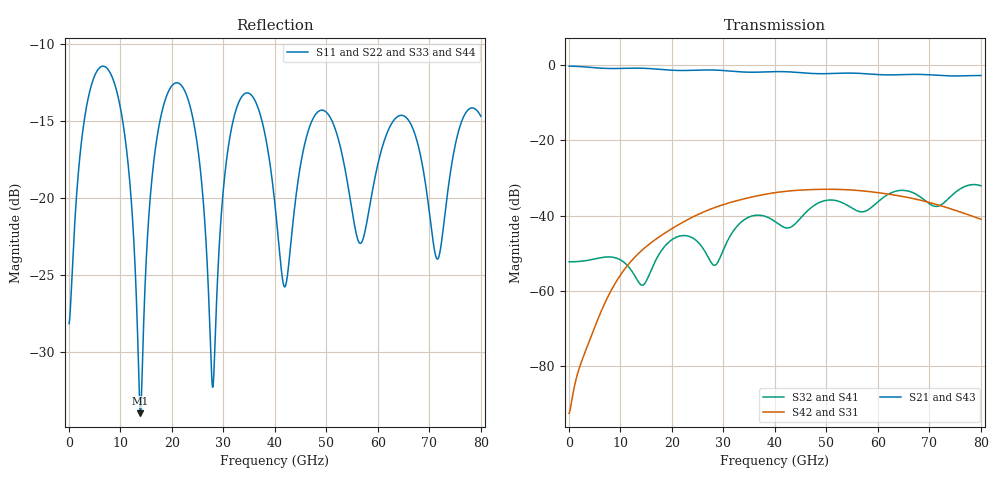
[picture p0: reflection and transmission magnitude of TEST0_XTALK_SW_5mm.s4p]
! TOUCHSTONE file generated by CST MICROWAVE STUDIO
! Date and time: Fri Oct 23 11:41:42 2026
! Project name: TEST0_XTALK_SW_3mm.cst
! Parameters = {L=5; L1=0.01; L2=0.076; PITCH=0.2; START_POSITION=0.1; W1=0.002; W2=0.022; gap=0.00415; interaxis=0.625; ln_thickness=0.000275; mtx=0.002; si_thickness=0.3; sio2_thickness=0.0047; w=1; wg=0.03; ws=0.01}
! Header version: 2024
! Port assignment regex: !\s*Touchstone port\s*([0-9]+)\s*=\s*(CST MWS port|CST DES external port|CST DES block port)\s*(.+)\s* \(\"(.*)\"\)(\s*mode\s*([0-9]+))?.*
! Touchstone port assignment:
! Touchstone port 1 = CST MWS port 1 ("")
! Touchstone port 2 = CST MWS port 2 ("")
! Touchstone port 3 = CST MWS port 3 ("")
! Touchstone port 4 = CST MWS port 4 ("")
# GHz S MA R 50
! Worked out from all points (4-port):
!   1000 points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, 80 MHz to 80 GHz, reference 50 ohm
!   strongest paths, dB at 80 MHz, 20.08 GHz, 40.08 GHz, 60.08 GHz, 80 GHz:
!     S21: -0.3, -1.4, -1.8, -2.6, -2.8
!     S43: -0.3, -1.4, -1.8, -2.6, -2.8
!     S42: -92.4, -43.4, -33.9, -33.9, -40.9
!     S31: -92.4, -43.4, -33.9, -33.9, -40.9
!     S32: -52.2, -46.3, -41.6, -36.2, -32.1
!     S41: -52.2, -46.3, -41.6, -36.2, -32.1
!   lowest |S11| = -34.0 dB at 13.92 GHz (marker M1), VSWR 1.04, Z = 52 - j0.279 ohm
!   |S11| at or under -10 dB: start of sweep to end of sweep
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0.08  0.03914 6.4  0.9636 -1.1  2.378e-05 5.4  0.002446 176.8
      0.9636 -1.1  0.03914 6.4  0.002446 176.8  2.365e-05 5.4
      2.405e-05 5.3  0.002447 176.8  0.03914 6.4  0.9636 -1.1
      0.002447 176.8  2.391e-05 5.3  0.9636 -1.1  0.03914 6.4
13.92  0.02003 -7.7  0.9061 -177.7  0.003339 -26.9  0.001228 1.0
       0.9061 -177.7  0.02002 -7.7  0.001228 1.0  0.003339 -26.9
       0.003338 -26.9  0.001229 1.0  0.02004 -7.7  0.9061 -177.7
       0.001229 1.0  0.003338 -26.9  0.9061 -177.7  0.02002 -7.7
28  0.02444 -0.0  0.8567 5.5  0.01258 -65.0  0.002243 -39.6
    0.8567 5.5  0.02444 -0.0  0.002243 -39.6  0.01258 -65.0
    0.01258 -65.0  0.002243 -39.7  0.02443 -0.0  0.8567 5.5
    0.002243 -39.7  0.01258 -65.0  0.8567 5.5  0.02444 -0.0
42.4  0.05531 10.5  0.8117 -174.7  0.02116 -118.0  0.006878 128.8
      0.8117 -174.7  0.05535 10.4  0.006878 128.8  0.02116 -118.0
      0.02116 -118.0  0.006877 128.8  0.05529 10.4  0.8117 -174.7
      0.006876 128.8  0.02116 -118.0  0.8117 -174.7  0.05533 10.4
56.4  0.07166 -8.2  0.7737 10.3  0.02155 -161.7  0.01136 -71.9
      0.7737 10.3  0.07181 -8.2  0.01136 -71.9  0.02154 -161.7
      0.02155 -161.7  0.01136 -71.9  0.07163 -8.2  0.7737 10.3
      0.01136 -71.9  0.02155 -161.7  0.7737 10.3  0.07178 -8.2
70.64  0.07424 -23.2  0.7357 -168.1  0.01458 151.5  0.01362 82.8
       0.7357 -168.1  0.07398 -23.2  0.01362 82.8  0.01458 151.5
       0.01458 151.5  0.01361 82.8  0.07426 -23.2  0.7356 -168.1
       0.01361 82.8  0.01458 151.5  0.7356 -168.1  0.07399 -23.2
80  0.1843 -15.1  0.7235 75.1  0.008984 -105.6  0.02495 -55.4
    0.7235 75.1  0.1844 -15.1  0.02495 -55.4  0.00899 -105.5
    0.008978 -105.6  0.02496 -55.4  0.1843 -15.1  0.7235 75.1
    0.02496 -55.4  0.008984 -105.6  0.7235 75.1  0.1844 -15.1
